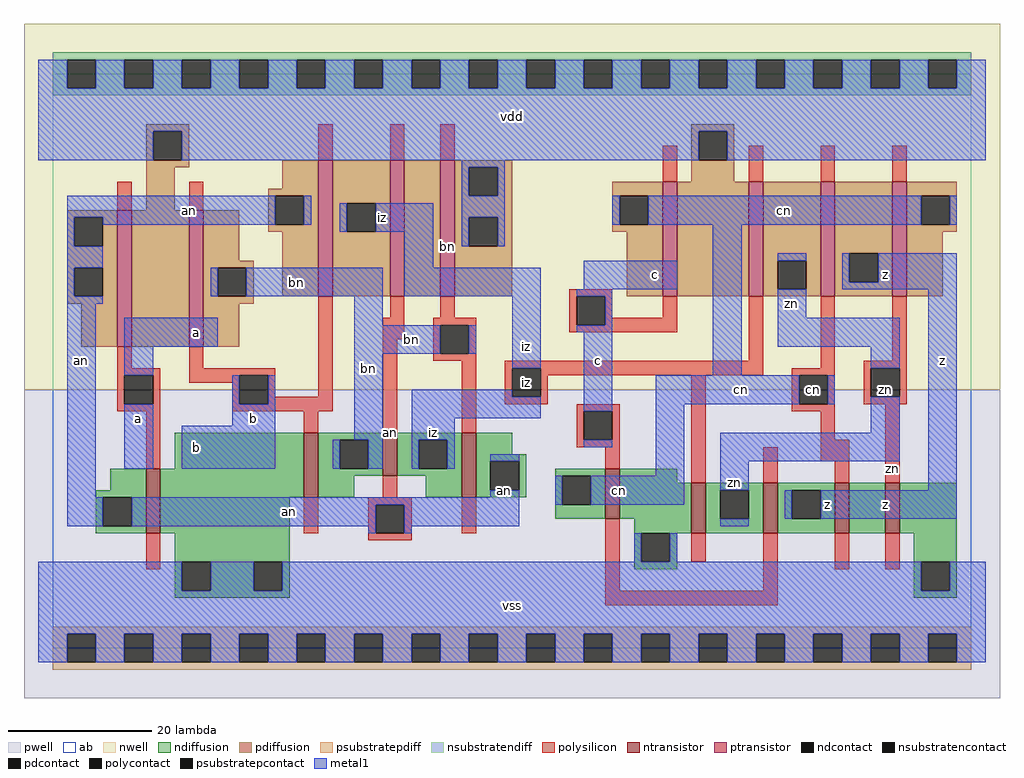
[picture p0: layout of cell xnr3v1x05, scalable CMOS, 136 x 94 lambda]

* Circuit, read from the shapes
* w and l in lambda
.subckt xnr3v1x05 a an b bn c cn iz vdd vss z zn
M1 vss a an vss nfet w=9 l=2
M2 bn b vss vss nfet w=9 l=2
M3 iz an bn vss nfet w=6 l=2
M4 an bn iz vss nfet w=9 l=2
M5 vss c cn vss nfet w=7 l=2
M6 zn iz vss vss nfet w=7 l=2
M7 z c zn vss nfet w=7 l=2
M8 n1 cn z vss nfet w=7 l=2
M9 vss zn n1 vss nfet w=7 l=2
M10 vdd a an vdd pfet w=19 l=2
M11 bn b vdd vdd pfet w=19 l=2
M12 iz b an vdd pfet w=19 l=2
M13 n2 an iz vdd pfet w=19 l=2
M14 vdd bn n2 vdd pfet w=19 l=2
M15 vdd c cn vdd pfet w=16 l=2
M16 zn iz vdd vdd pfet w=16 l=2
M17 z cn zn vdd pfet w=16 l=2
M18 cn zn z vdd pfet w=16 l=2
.ends

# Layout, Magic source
magic
tech scmos
<< ab >>
rect 0 0 128 80
<< pwell >>
rect -4 -7 132 36
<< nwell >>
rect -4 36 132 87
<< polysilicon >>
rect 37 68 39 73
rect 47 68 49 73
rect 54 68 56 73
rect 9 61 11 65
rect 19 61 21 65
rect 85 65 87 70
rect 97 65 99 70
rect 107 65 109 70
rect 117 65 119 70
rect 72 49 78 50
rect 9 39 11 42
rect 19 39 21 42
rect 9 38 15 39
rect 9 34 10 38
rect 14 34 15 38
rect 19 38 31 39
rect 19 37 26 38
rect 9 33 15 34
rect 25 34 26 37
rect 30 35 31 38
rect 37 35 39 49
rect 47 46 49 49
rect 54 46 56 49
rect 30 34 39 35
rect 25 33 39 34
rect 46 43 49 46
rect 53 45 59 46
rect 13 25 15 33
rect 35 30 37 33
rect 46 30 48 43
rect 53 41 54 45
rect 58 41 59 45
rect 72 45 73 49
rect 77 46 78 49
rect 85 46 87 49
rect 77 45 87 46
rect 72 44 87 45
rect 53 40 59 41
rect 97 40 99 49
rect 57 30 59 40
rect 63 39 99 40
rect 107 39 109 49
rect 117 40 119 49
rect 63 35 64 39
rect 68 38 99 39
rect 103 38 109 39
rect 68 35 69 38
rect 63 34 69 35
rect 73 33 79 34
rect 46 21 48 24
rect 73 29 74 33
rect 78 29 79 33
rect 73 28 79 29
rect 77 25 79 28
rect 35 16 37 21
rect 44 20 50 21
rect 44 16 45 20
rect 49 16 50 20
rect 57 16 59 21
rect 89 23 91 38
rect 103 34 104 38
rect 108 34 109 38
rect 113 39 119 40
rect 113 35 114 39
rect 118 35 119 39
rect 113 34 119 35
rect 103 33 109 34
rect 107 29 109 33
rect 99 23 101 28
rect 107 26 111 29
rect 109 23 111 26
rect 116 23 118 34
rect 13 11 15 16
rect 44 15 50 16
rect 77 8 79 18
rect 89 12 91 16
rect 99 8 101 16
rect 109 11 111 16
rect 116 11 118 16
rect 77 6 101 8
<< ndiffusion >>
rect 17 25 35 30
rect 8 22 13 25
rect 6 21 13 22
rect 6 17 7 21
rect 11 17 13 21
rect 6 16 13 17
rect 15 21 35 25
rect 37 29 46 30
rect 37 25 40 29
rect 44 25 46 29
rect 37 24 46 25
rect 48 29 57 30
rect 48 25 51 29
rect 55 25 57 29
rect 48 24 57 25
rect 37 21 42 24
rect 52 21 57 24
rect 59 27 64 30
rect 59 26 66 27
rect 59 22 61 26
rect 65 22 66 26
rect 59 21 66 22
rect 70 24 77 25
rect 15 16 33 21
rect 70 20 71 24
rect 75 20 77 24
rect 70 18 77 20
rect 79 23 87 25
rect 79 18 89 23
rect 17 12 33 16
rect 17 8 18 12
rect 22 8 28 12
rect 32 8 33 12
rect 17 7 33 8
rect 81 16 89 18
rect 91 22 99 23
rect 91 18 93 22
rect 97 18 99 22
rect 91 16 99 18
rect 101 22 109 23
rect 101 18 103 22
rect 107 18 109 22
rect 101 16 109 18
rect 111 16 116 23
rect 118 16 126 23
rect 81 12 82 16
rect 86 12 87 16
rect 81 11 87 12
rect 120 12 126 16
rect 120 8 121 12
rect 125 8 126 12
rect 120 7 126 8
<< pdiffusion >>
rect 13 72 19 73
rect 13 68 14 72
rect 18 68 19 72
rect 89 72 95 73
rect 13 67 19 68
rect 13 61 17 67
rect 32 64 37 68
rect 30 63 37 64
rect 2 60 9 61
rect 2 56 3 60
rect 7 56 9 60
rect 2 53 9 56
rect 2 49 3 53
rect 7 49 9 53
rect 2 48 9 49
rect 4 42 9 48
rect 11 42 19 61
rect 21 54 26 61
rect 30 59 31 63
rect 35 59 37 63
rect 30 58 37 59
rect 21 53 28 54
rect 21 49 23 53
rect 27 49 28 53
rect 32 49 37 58
rect 39 62 47 68
rect 39 58 41 62
rect 45 58 47 62
rect 39 49 47 58
rect 49 49 54 68
rect 56 67 64 68
rect 56 63 58 67
rect 62 63 64 67
rect 89 68 90 72
rect 94 68 95 72
rect 89 65 95 68
rect 56 60 64 63
rect 56 56 58 60
rect 62 56 64 60
rect 78 63 85 65
rect 78 59 79 63
rect 83 59 85 63
rect 78 58 85 59
rect 56 49 64 56
rect 80 49 85 58
rect 87 49 97 65
rect 99 54 107 65
rect 99 50 101 54
rect 105 50 107 54
rect 99 49 107 50
rect 109 55 117 65
rect 109 51 111 55
rect 115 51 117 55
rect 109 49 117 51
rect 119 63 126 65
rect 119 59 121 63
rect 125 59 126 63
rect 119 58 126 59
rect 119 49 124 58
rect 21 48 28 49
rect 21 42 26 48
<< metal1 >>
rect -2 78 2 82
rect 6 78 10 82
rect 14 78 18 82
rect 22 78 26 82
rect 30 78 34 82
rect 38 78 42 82
rect 46 78 50 82
rect 54 78 58 82
rect 62 78 66 82
rect 70 78 74 82
rect 78 78 82 82
rect 86 78 90 82
rect 94 78 98 82
rect 102 78 106 82
rect 110 78 114 82
rect 118 78 122 82
rect 126 78 130 82
rect -2 72 130 78
rect -2 68 14 72
rect 18 68 90 72
rect 94 68 130 72
rect 57 67 63 68
rect 57 63 58 67
rect 62 63 63 67
rect 2 60 31 63
rect 2 56 3 60
rect 7 59 31 60
rect 35 59 36 63
rect 40 58 41 62
rect 45 58 53 62
rect 2 53 7 56
rect 49 53 53 58
rect 57 60 63 63
rect 57 56 58 60
rect 62 56 63 60
rect 78 59 79 63
rect 83 59 121 63
rect 125 59 126 63
rect 2 49 3 53
rect 22 49 23 53
rect 27 49 46 53
rect 49 49 68 53
rect 74 50 87 54
rect 2 48 7 49
rect 2 21 6 48
rect 10 42 23 46
rect 42 45 46 49
rect 10 38 14 42
rect 42 41 54 45
rect 58 41 59 45
rect 10 25 14 34
rect 25 34 26 38
rect 30 34 31 38
rect 25 31 31 34
rect 18 25 31 31
rect 42 29 46 41
rect 64 39 68 49
rect 73 49 78 50
rect 77 45 78 49
rect 73 44 78 45
rect 39 25 40 29
rect 44 25 46 29
rect 50 35 64 36
rect 50 32 68 35
rect 74 33 78 44
rect 92 38 96 59
rect 101 54 105 55
rect 110 51 111 55
rect 115 51 126 55
rect 110 50 126 51
rect 101 46 105 50
rect 101 42 118 46
rect 114 39 118 42
rect 50 29 56 32
rect 50 25 51 29
rect 55 25 56 29
rect 74 28 78 29
rect 84 34 104 38
rect 108 34 109 38
rect 61 26 65 27
rect 84 24 88 34
rect 114 30 118 35
rect 61 21 65 22
rect 2 17 7 21
rect 11 20 65 21
rect 70 20 71 24
rect 75 20 88 24
rect 93 26 118 30
rect 93 22 97 26
rect 122 22 126 50
rect 11 17 45 20
rect 44 16 45 17
rect 49 17 65 20
rect 102 18 103 22
rect 107 18 126 22
rect 93 17 97 18
rect 49 16 50 17
rect 81 12 82 16
rect 86 12 87 16
rect -2 8 18 12
rect 22 8 28 12
rect 32 8 121 12
rect 125 8 130 12
rect -2 2 130 8
rect -2 -2 2 2
rect 6 -2 10 2
rect 14 -2 18 2
rect 22 -2 26 2
rect 30 -2 34 2
rect 38 -2 42 2
rect 46 -2 50 2
rect 54 -2 58 2
rect 62 -2 66 2
rect 70 -2 74 2
rect 78 -2 82 2
rect 86 -2 90 2
rect 94 -2 98 2
rect 102 -2 106 2
rect 110 -2 114 2
rect 118 -2 122 2
rect 126 -2 130 2
<< ntransistor >>
rect 13 16 15 25
rect 35 21 37 30
rect 46 24 48 30
rect 57 21 59 30
rect 77 18 79 25
rect 89 16 91 23
rect 99 16 101 23
rect 109 16 111 23
rect 116 16 118 23
<< ptransistor >>
rect 9 42 11 61
rect 19 42 21 61
rect 37 49 39 68
rect 47 49 49 68
rect 54 49 56 68
rect 85 49 87 65
rect 97 49 99 65
rect 107 49 109 65
rect 117 49 119 65
<< polycontact >>
rect 10 34 14 38
rect 26 34 30 38
rect 54 41 58 45
rect 73 45 77 49
rect 64 35 68 39
rect 74 29 78 33
rect 45 16 49 20
rect 104 34 108 38
rect 114 35 118 39
<< ndcontact >>
rect 7 17 11 21
rect 40 25 44 29
rect 51 25 55 29
rect 61 22 65 26
rect 71 20 75 24
rect 18 8 22 12
rect 28 8 32 12
rect 93 18 97 22
rect 103 18 107 22
rect 82 12 86 16
rect 121 8 125 12
<< pdcontact >>
rect 14 68 18 72
rect 3 56 7 60
rect 3 49 7 53
rect 31 59 35 63
rect 23 49 27 53
rect 41 58 45 62
rect 58 63 62 67
rect 90 68 94 72
rect 58 56 62 60
rect 79 59 83 63
rect 101 50 105 54
rect 111 51 115 55
rect 121 59 125 63
<< psubstratepcontact >>
rect 2 -2 6 2
rect 10 -2 14 2
rect 18 -2 22 2
rect 26 -2 30 2
rect 34 -2 38 2
rect 42 -2 46 2
rect 50 -2 54 2
rect 58 -2 62 2
rect 66 -2 70 2
rect 74 -2 78 2
rect 82 -2 86 2
rect 90 -2 94 2
rect 98 -2 102 2
rect 106 -2 110 2
rect 114 -2 118 2
rect 122 -2 126 2
<< nsubstratencontact >>
rect 2 78 6 82
rect 10 78 14 82
rect 18 78 22 82
rect 26 78 30 82
rect 34 78 38 82
rect 42 78 46 82
rect 50 78 54 82
rect 58 78 62 82
rect 66 78 70 82
rect 74 78 78 82
rect 82 78 86 82
rect 90 78 94 82
rect 98 78 102 82
rect 106 78 110 82
rect 114 78 118 82
rect 122 78 126 82
<< psubstratepdiff >>
rect 0 2 128 3
rect 0 -2 2 2
rect 6 -2 10 2
rect 14 -2 18 2
rect 22 -2 26 2
rect 30 -2 34 2
rect 38 -2 42 2
rect 46 -2 50 2
rect 54 -2 58 2
rect 62 -2 66 2
rect 70 -2 74 2
rect 78 -2 82 2
rect 86 -2 90 2
rect 94 -2 98 2
rect 102 -2 106 2
rect 110 -2 114 2
rect 118 -2 122 2
rect 126 -2 128 2
rect 0 -3 128 -2
<< nsubstratendiff >>
rect 0 82 128 83
rect 0 78 2 82
rect 6 78 10 82
rect 14 78 18 82
rect 22 78 26 82
rect 30 78 34 82
rect 38 78 42 82
rect 46 78 50 82
rect 54 78 58 82
rect 62 78 66 82
rect 70 78 74 82
rect 78 78 82 82
rect 86 78 90 82
rect 94 78 98 82
rect 102 78 106 82
rect 110 78 114 82
rect 118 78 122 82
rect 126 78 128 82
rect 0 77 128 78
<< labels >>
rlabel polysilicon 47 30 47 30 6 an
rlabel ptransistor 55 56 55 56 6 bn
rlabel polycontact 66 37 66 37 6 iz
rlabel polycontact 106 36 106 36 6 cn
rlabel polysilicon 117 25 117 25 6 zn
rlabel metal1 20 28 20 28 6 b
rlabel metal1 12 32 12 32 6 a
rlabel metal1 20 44 20 44 6 a
rlabel metal1 4 40 4 40 6 an
rlabel metal1 28 32 28 32 6 b
rlabel metal1 34 51 34 51 6 bn
rlabel metal1 44 39 44 39 6 bn
rlabel metal1 19 61 19 61 6 an
rlabel metal1 64 6 64 6 6 vss
rlabel metal1 33 19 33 19 6 an
rlabel metal1 63 22 63 22 6 an
rlabel metal1 53 30 53 30 6 iz
rlabel metal1 50 43 50 43 6 bn
rlabel metal1 66 42 66 42 6 iz
rlabel metal1 46 60 46 60 6 iz
rlabel metal1 64 74 64 74 6 vdd
rlabel metal1 79 22 79 22 6 cn
rlabel metal1 95 23 95 23 6 zn
rlabel metal1 76 40 76 40 6 c
rlabel metal1 84 52 84 52 6 c
rlabel metal1 116 20 116 20 6 z
rlabel metal1 108 20 108 20 6 z
rlabel polycontact 116 36 116 36 6 zn
rlabel metal1 96 36 96 36 6 cn
rlabel metal1 124 40 124 40 6 z
rlabel metal1 116 52 116 52 6 z
rlabel metal1 103 48 103 48 6 zn
rlabel metal1 102 61 102 61 6 cn
<< end >>
